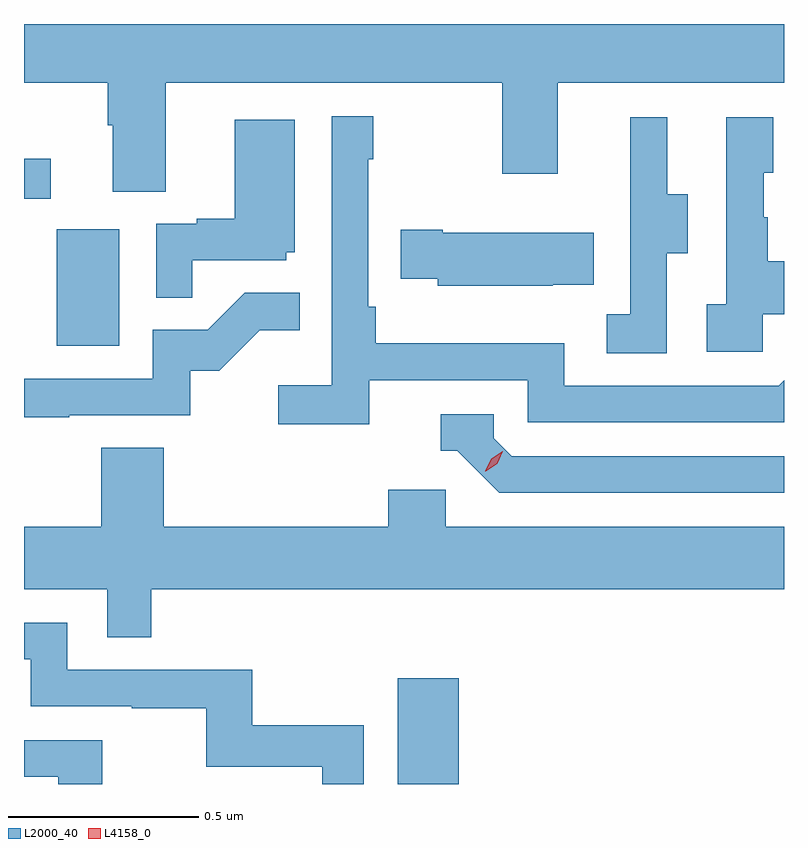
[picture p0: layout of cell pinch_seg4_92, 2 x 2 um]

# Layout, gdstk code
import gdstk
lib = gdstk.Library(unit=1e-6, precision=1e-09)
def R(c, l, rs):  # rectangles x0, y0, x1, y1
    for r in rs: c.add(gdstk.rectangle(r[:2], r[2:], *l))
def P(c, l, *ps):  # polygons
    for p in ps: c.add(gdstk.Polygon(p, *l))
L2000_40 = (2000, 40)
L4158_0 = (4158, 0)

pinch_seg4_92 = lib.new_cell('pinch_seg4_92')
R(pinch_seg4_92, L2000_40, [(1061.987,825.611,1062.148,825.889), (1061.09,826.764,1061.254,827.071), (1061.004,827.151,1061.074,827.257)])
P(pinch_seg4_92, L2000_40, [(1061.377,827.456),(1062.262,827.456),(1062.262,827.217),(1062.409,827.217),(1062.409,827.456),(1063.004,827.456),(1063.004,827.611),(1061.004,827.611),(1061.004,827.456),(1061.225,827.456),(1061.225,827.344),(1061.237,827.344),(1061.237,827.17),(1061.377,827.17)],
  [(1061.912,826.674),(1062.33,826.674),(1062.33,826.563),(1063.004,826.563),(1063.004,826.673),(1062.99,826.659),(1062.426,826.659),(1062.426,826.771),(1061.93,826.771),(1061.93,826.867),(1061.91,826.867),(1061.91,827.255),(1061.923,827.255),(1061.923,827.368),(1061.814,827.368),(1061.814,826.66),(1061.673,826.66),(1061.673,826.558),(1061.912,826.558)],
  [(1062.948,826.847),(1063.004,826.847),(1063.004,826.987),(1062.961,826.987),(1062.961,827.102),(1062.951,827.102),(1062.951,827.22),(1062.976,827.22),(1062.976,827.365),(1062.852,827.365),(1062.852,826.874),(1062.801,826.874),(1062.801,826.749),(1062.948,826.749)],
  [(1062.696,827.008),(1062.751,827.008),(1062.751,827.163),(1062.697,827.163),(1062.697,827.365),(1062.599,827.365),(1062.599,827.151),(1062.6,827.151),(1062.6,826.847),(1062.537,826.847),(1062.537,826.744),(1062.696,826.744)],
  [(1061.447,826.989),(1061.694,826.989),(1061.694,827.01),(1061.716,827.01),(1061.716,827.359),(1061.558,827.359),(1061.558,827.098),(1061.459,827.098),(1061.459,827.085),(1061.352,827.085),(1061.352,826.891),(1061.447,826.891)],
  [(1062.395,826.925),(1062.503,826.925),(1062.503,827.062),(1062.106,827.062),(1062.106,827.07),(1061.995,827.07),(1061.995,826.94),(1062.093,826.94),(1062.093,826.922),(1062.395,826.922)],
  [(1061.123,826.581),(1061.442,826.581),(1061.442,826.698),(1061.518,826.698),(1061.625,826.805),(1061.729,826.805),(1061.729,826.904),(1061.585,826.904),(1061.487,826.806),(1061.343,826.806),(1061.343,826.677),(1061.004,826.677),(1061.004,826.576),(1061.123,826.576)],
  [(1063.004,826.473),(1062.288,826.473),(1062.24,826.521),(1062.24,826.584),(1062.101,826.584),(1062.101,826.488),(1062.144,826.488),(1062.255,826.377),(1063.004,826.377)],
  [(1061.339,826.124),(1063.004,826.124),(1063.004,826.288),(1062.114,826.288),(1062.114,826.386),(1061.963,826.386),(1061.963,826.288),(1061.372,826.288),(1061.372,826.496),(1061.207,826.496),(1061.207,826.288),(1061.004,826.288),(1061.004,826.124),(1061.223,826.124),(1061.223,825.997),(1061.339,825.997)],
  [(1061.898,825.766),(1061.605,825.766),(1061.605,825.912),(1061.118,825.912),(1061.118,826.035),(1061.004,826.035),(1061.004,825.939),(1061.022,825.939),(1061.022,825.816),(1061.287,825.816),(1061.287,825.811),(1061.484,825.811),(1061.484,825.656),(1061.789,825.656),(1061.789,825.611),(1061.898,825.611)],
  [(1061.21,825.726),(1061.004,825.726),(1061.004,825.63),(1061.094,825.63),(1061.094,825.611),(1061.21,825.611)])
P(pinch_seg4_92, L4158_0, [(1062.218,826.434),(1062.218,826.434),(1062.234,826.467),(1062.264,826.487),(1062.264,826.487),(1062.264,826.487),(1062.249,826.454),(1062.219,826.434)])

lib.write_gds('pinch_seg4_92.gds')
